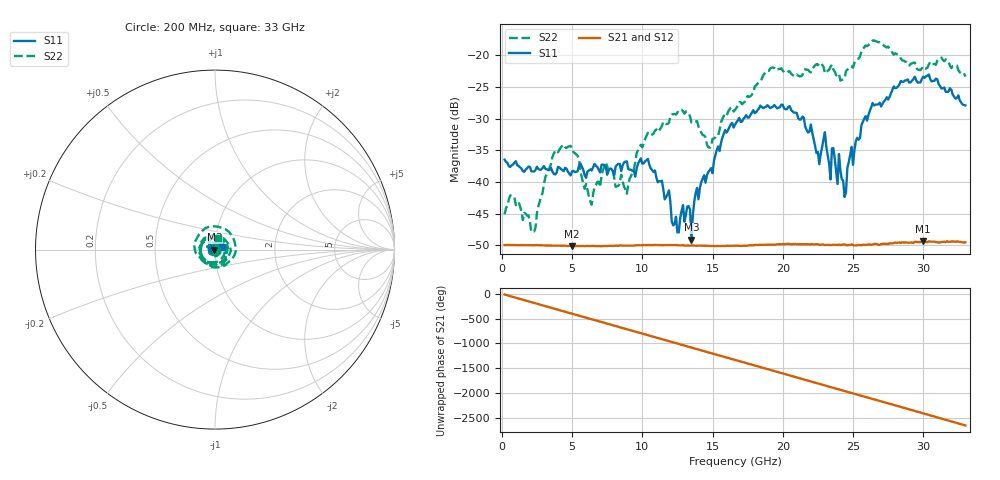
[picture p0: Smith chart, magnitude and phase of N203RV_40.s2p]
# GHZ S RI R 50
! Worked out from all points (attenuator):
!   329 points, 200 MHz to 33 GHz, reference 50 ohm
!   highest |S21| = -49.32 dB at 30 GHz (marker M1); lowest = -50.1 dB at 5 GHz (marker M2)
!   lowest |S11| = -49.1 dB at 13.5 GHz (marker M3), VSWR 1.01, Z = 49.7 + j0.036 ohm
!   |S11| at or under -10 dB: start of sweep to end of sweep
!   |S22| runs from -47.9 to -17.6 dB; largest |S21 - S12| = 7.3e-05
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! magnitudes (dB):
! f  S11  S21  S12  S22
! 200 MHz  -36.5  -50.0  -49.9  -45.1
! 2.3 GHz  -38.3  -50.0  -50.0  -47.8
! 3.7 GHz  -38.7  -50.0  -50.0  -35.5
! 5 GHz  -38.3  -50.1  -50.1  -34.8
! 5.7 GHz  -37.6  -50.1  -50.1  -39.3
! 8.9 GHz  -36.7  -50.0  -50.0  -41.9
! 11.2 GHz  -39.8  -50.0  -49.9  -31.8
! 13.3 GHz  -43.8  -50.0  -50.0  -29.1
! 13.5 GHz  -49.1  -50.0  -50.0  -30.6
! 13.9 GHz  -40.9  -50.1  -50.0  -30.4
! 14.8 GHz  -38.1  -50.1  -50.1  -34.6
! 16.6 GHz  -30.9  -50.1  -50.1  -28.6
! 22.1 GHz  -32.2  -49.8  -49.8  -22.1
! 22.6 GHz  -37.2  -49.9  -49.9  -21.2
! 23 GHz  -32.1  -50.0  -49.9  -22.8
! 23.4 GHz  -39.6  -50.0  -49.9  -21.8
! 24 GHz  -35.6  -49.9  -49.9  -22.9
! 24.4 GHz  -42.4  -49.9  -49.8  -23.6
! 25.8 GHz  -30.0  -49.9  -50.0  -18.7
! 27.6 GHz  -26.6  -49.7  -49.7  -18.9
! 30 GHz  -23.4  -49.3  -49.4  -21.7
! 33 GHz  -27.9  -49.5  -49.5  -23.3
